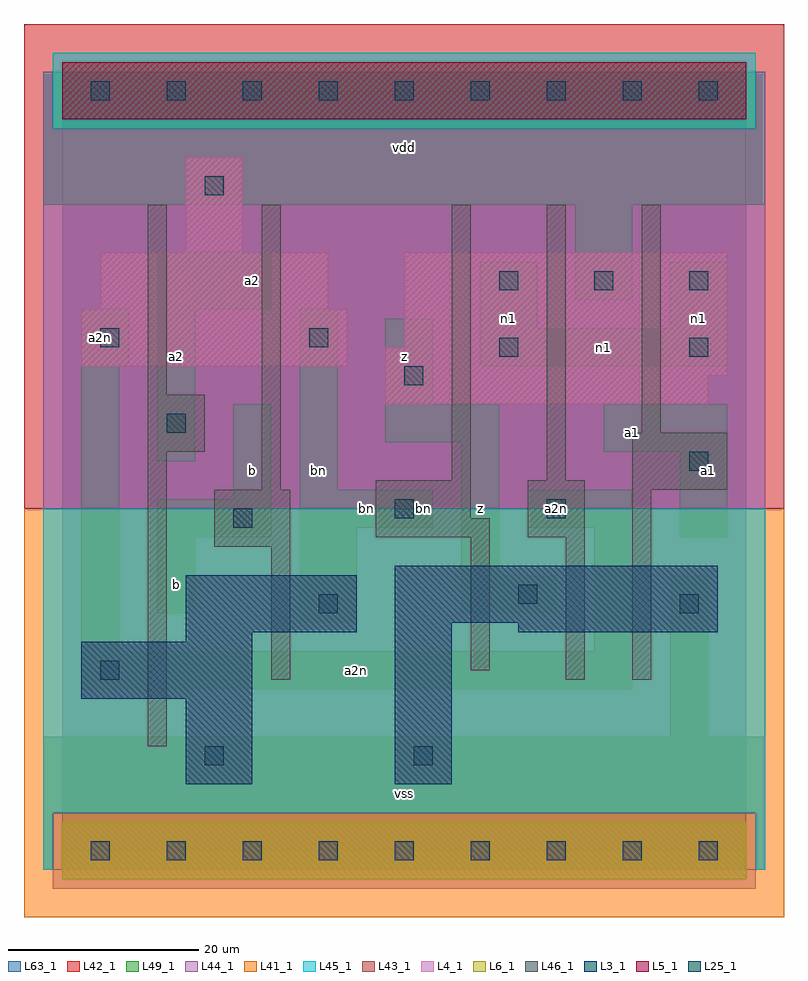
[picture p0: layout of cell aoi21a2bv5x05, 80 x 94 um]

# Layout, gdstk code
import gdstk
lib = gdstk.Library(unit=1e-6, precision=1e-09)
def R(c, l, rs):  # rectangles x0, y0, x1, y1
    for r in rs: c.add(gdstk.rectangle(r[:2], r[2:], *l))
def A(c, l, x, y, w, h, nx, ny, dx, dy):  # array of equal rectangles
    R(c, l, [(x+i*dx, y+j*dy, x+i*dx+w, y+j*dy+h) for i in range(nx) for j in range(ny)])
L3_1 = (3, 1)
L4_1 = (4, 1)
L5_1 = (5, 1)
L6_1 = (6, 1)
L25_1 = (25, 1)
L41_1 = (41, 1)
L42_1 = (42, 1)
L43_1 = (43, 1)
L44_1 = (44, 1)
L45_1 = (45, 1)
L46_1 = (46, 1)
L49_1 = (49, 1)
L63_1 = (63, 1)

aoi21a2bv5x05 = lib.new_cell('aoi21a2bv5x05')
R(aoi21a2bv5x05, L3_1, [(13,7,20,16), (35,7,41,24), (2,16,20,22), (13,22,20,23), (13,23,31,29), (48,23,69,24), (35,24,69,30)])
R(aoi21a2bv5x05, L4_1, [(34,47,68,50), (34,50,70,53), (2,51,30,57), (36,53,70,63), (4,57,28,63), (13,63,19,73)])
R(aoi21a2bv5x05, L5_1, [(0,77,72,83)])
R(aoi21a2bv5x05, L6_1, [(0,-3,72,3), (0,-3,72,3)])
A(aoi21a2bv5x05, L25_1, 3, -1, 2, 2, 9, 2, 8, 80)
A(aoi21a2bv5x05, L25_1, 46, 59, 2, 2, 3, 1, 10, 0)
R(aoi21a2bv5x05, L25_1, [(15,9,17,11), (37,9,39,11), (4,18,6,20), (27,25,29,27), (65,25,67,27), (48,26,50,28), (18,34,20,36), (35,35,37,37), (51,35,53,37), (66,40,68,42), (11,44,13,46), (36,49,38,51), (46,52,48,54), (66,52,68,54), (4,53,6,55), (26,53,28,55), (15,69,17,71)])
R(aoi21a2bv5x05, L41_1, [(-4,-7,76,36)])
R(aoi21a2bv5x05, L42_1, [(-4,36,76,87)])
R(aoi21a2bv5x05, L43_1, [(0,-3,72,3), (13,7,20,16), (35,7,41,24), (2,16,20,22), (13,22,20,23), (13,23,31,29), (48,23,69,24), (35,24,69,30), (34,47,68,50), (34,50,70,53), (2,51,30,57), (36,53,70,63), (4,57,28,63), (13,63,19,73), (0,77,72,83)])
R(aoi21a2bv5x05, L44_1, [(-1,-4,73,4), (-2,36,74,76), (-2,76,-1,82), (73,76,74,82)])
R(aoi21a2bv5x05, L45_1, [(-2,-2,-1,4), (73,-2,74,4), (-2,4,74,36), (-1,76,73,84)])
R(aoi21a2bv5x05, L46_1, [(9,11,11,42), (22,18,24,32), (53,18,55,33), (60,18,62,38), (43,19,45,33), (16,32,24,38), (33,33,45,35), (49,33,55,39), (33,35,43,39), (21,38,23,68), (60,38,70,44), (41,39,43,68), (51,39,53,68), (9,42,15,48), (61,44,63,68), (9,48,11,68)])
R(aoi21a2bv5x05, L49_1, [(-2,-2,74,12), (64,12,68,29), (2,17,60,21), (2,21,6,51), (56,21,60,34), (25,24,31,34), (10,25,14,33), (42,25,52,29), (42,29,46,43), (10,33,22,37), (65,33,70,42), (25,34,39,38), (49,34,60,38), (18,37,22,47), (25,38,29,57), (10,41,14,57), (57,42,70,47), (34,43,46,47), (34,47,39,56), (2,51,7,57), (44,51,70,55), (44,55,50,62), (64,55,70,62), (10,57,22,63), (54,58,60,68), (-2,68,74,82)])
R(aoi21a2bv5x05, L63_1, [(0,0,72,80)])
aoi21a2bv5x05.add(gdstk.Label('bn', (38,36), layer=46, texttype=1))
aoi21a2bv5x05.add(gdstk.Label('a2n', (52,36), layer=49, texttype=1))
aoi21a2bv5x05.add(gdstk.Label('a2n', (4,54), layer=49, texttype=1))
aoi21a2bv5x05.add(gdstk.Label('b', (12,28), layer=49, texttype=1))
aoi21a2bv5x05.add(gdstk.Label('b', (20,40), layer=49, texttype=1))
aoi21a2bv5x05.add(gdstk.Label('a2', (12,52), layer=49, texttype=1))
aoi21a2bv5x05.add(gdstk.Label('a2', (20,60), layer=49, texttype=1))
aoi21a2bv5x05.add(gdstk.Label('vss', (36,6), layer=49, texttype=1))
aoi21a2bv5x05.add(gdstk.Label('bn', (32,36), layer=49, texttype=1))
aoi21a2bv5x05.add(gdstk.Label('z', (36,52), layer=49, texttype=1))
aoi21a2bv5x05.add(gdstk.Label('bn', (27,40), layer=49, texttype=1))
aoi21a2bv5x05.add(gdstk.Label('vdd', (36,74), layer=49, texttype=1))
aoi21a2bv5x05.add(gdstk.Label('z', (44,36), layer=49, texttype=1))
aoi21a2bv5x05.add(gdstk.Label('n1', (47,56), layer=49, texttype=1))
aoi21a2bv5x05.add(gdstk.Label('a2n', (31,19), layer=49, texttype=1))
aoi21a2bv5x05.add(gdstk.Label('a1', (60,44), layer=49, texttype=1))
aoi21a2bv5x05.add(gdstk.Label('a2n', (54,36), layer=49, texttype=1))
aoi21a2bv5x05.add(gdstk.Label('a1', (68,40), layer=49, texttype=1))
aoi21a2bv5x05.add(gdstk.Label('n1', (57,53), layer=49, texttype=1))
aoi21a2bv5x05.add(gdstk.Label('n1', (67,56), layer=49, texttype=1))

lib.write_gds('aoi21a2bv5x05.gds')
